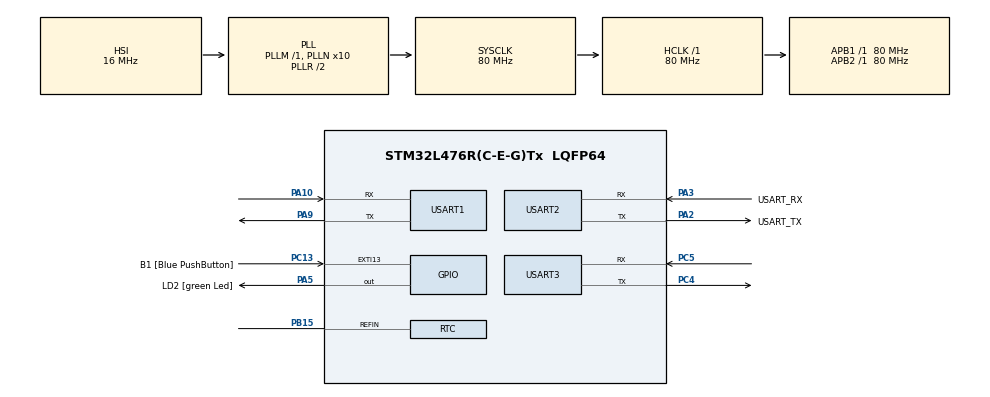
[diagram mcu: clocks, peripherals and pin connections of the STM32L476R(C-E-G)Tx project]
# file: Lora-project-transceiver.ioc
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Dma.Request0=USART2_RX
Dma.Request1=USART2_TX
Dma.Request2=USART1_RX
Dma.Request3=USART1_TX
Dma.Request4=USART3_RX
Dma.Request5=USART3_TX
Dma.USART1_RX.2.Direction=DMA_PERIPH_TO_MEMORY
Dma.USART1_RX.2.Instance=DMA1_Channel5
Dma.USART1_RX.2.MemDataAlignment=DMA_MDATAALIGN_BYTE
Dma.USART1_RX.2.MemInc=DMA_MINC_ENABLE
Dma.USART1_RX.2.Mode=DMA_NORMAL
Dma.USART1_RX.2.PeriphDataAlignment=DMA_PDATAALIGN_BYTE
Dma.USART1_RX.2.PeriphInc=DMA_PINC_DISABLE
Dma.USART1_RX.2.Priority=DMA_PRIORITY_MEDIUM
Dma.USART1_TX.3.Direction=DMA_MEMORY_TO_PERIPH
Dma.USART1_TX.3.Instance=DMA1_Channel4
Dma.USART1_TX.3.MemDataAlignment=DMA_MDATAALIGN_BYTE
Dma.USART1_TX.3.MemInc=DMA_MINC_ENABLE
Dma.USART1_TX.3.Mode=DMA_NORMAL
Dma.USART1_TX.3.PeriphDataAlignment=DMA_PDATAALIGN_BYTE
Dma.USART1_TX.3.PeriphInc=DMA_PINC_DISABLE
Dma.USART1_TX.3.Priority=DMA_PRIORITY_MEDIUM
Dma.USART2_RX.0.Direction=DMA_PERIPH_TO_MEMORY
Dma.USART2_RX.0.Instance=DMA1_Channel6
Dma.USART2_RX.0.MemDataAlignment=DMA_MDATAALIGN_BYTE
Dma.USART2_RX.0.MemInc=DMA_MINC_ENABLE
Dma.USART2_RX.0.Mode=DMA_NORMAL
Dma.USART2_RX.0.PeriphDataAlignment=DMA_PDATAALIGN_BYTE
Dma.USART2_RX.0.PeriphInc=DMA_PINC_DISABLE
Dma.USART2_RX.0.Priority=DMA_PRIORITY_MEDIUM
Dma.USART2_TX.1.Direction=DMA_MEMORY_TO_PERIPH
Dma.USART2_TX.1.Instance=DMA1_Channel7
Dma.USART2_TX.1.MemDataAlignment=DMA_MDATAALIGN_BYTE
Dma.USART2_TX.1.MemInc=DMA_MINC_ENABLE
Dma.USART2_TX.1.Mode=DMA_NORMAL
Dma.USART2_TX.1.PeriphDataAlignment=DMA_PDATAALIGN_BYTE
Dma.USART2_TX.1.PeriphInc=DMA_PINC_DISABLE
Dma.USART2_TX.1.Priority=DMA_PRIORITY_MEDIUM
Dma.USART3_RX.4.Direction=DMA_PERIPH_TO_MEMORY
Dma.USART3_RX.4.Instance=DMA1_Channel3
Dma.USART3_RX.4.MemDataAlignment=DMA_MDATAALIGN_HALFWORD
Dma.USART3_RX.4.MemInc=DMA_MINC_ENABLE
Dma.USART3_RX.4.Mode=DMA_CIRCULAR
Dma.USART3_RX.4.PeriphDataAlignment=DMA_PDATAALIGN_BYTE
Dma.USART3_RX.4.PeriphInc=DMA_PINC_DISABLE
Dma.USART3_RX.4.Priority=DMA_PRIORITY_MEDIUM
Dma.USART3_TX.5.Direction=DMA_MEMORY_TO_PERIPH
Dma.USART3_TX.5.Instance=DMA1_Channel2
Dma.USART3_TX.5.MemDataAlignment=DMA_MDATAALIGN_BYTE
Dma.USART3_TX.5.MemInc=DMA_MINC_ENABLE
Dma.USART3_TX.5.Mode=DMA_NORMAL
Dma.USART3_TX.5.PeriphDataAlignment=DMA_PDATAALIGN_BYTE
Dma.USART3_TX.5.PeriphInc=DMA_PINC_DISABLE
Dma.USART3_TX.5.Priority=DMA_PRIORITY_MEDIUM
Mcu.Family=STM32L4
Mcu.Name=STM32L476R(C-E-G)Tx
Mcu.Package=LQFP64
NVIC.DMA1_Channel2_IRQn=true\:0\:0\:false\:false\:true\:false\:true
NVIC.DMA1_Channel3_IRQn=true\:0\:0\:false\:false\:true\:false\:true
NVIC.DMA1_Channel4_IRQn=true\:0\:0\:false\:false\:true\:false\:true
NVIC.DMA1_Channel5_IRQn=true\:0\:0\:false\:false\:true\:false\:true
NVIC.DMA1_Channel6_IRQn=true\:0\:0\:false\:false\:true\:false\:true
NVIC.DMA1_Channel7_IRQn=true\:0\:0\:false\:false\:true\:false\:true
NVIC.PriorityGroup=NVIC_PRIORITYGROUP_4
NVIC.USART1_IRQn=true\:0\:0\:false\:false\:true\:true\:true
NVIC.USART2_IRQn=true\:0\:0\:false\:false\:true\:true\:true
NVIC.USART3_IRQn=true\:0\:0\:false\:false\:true\:true\:true
PA10.GPIO_PuPd=GPIO_NOPULL
PA10.Mode=Asynchronous
PA10.Signal=USART1_RX
PA13\ (JTMS-SWDIO).GPIO_Label=TMS
PA13\ (JTMS-SWDIO).Mode=Serial_Wire
PA13\ (JTMS-SWDIO).Signal=SYS_JTMS-SWDIO
PA14\ (JTCK-SWCLK).GPIO_Label=TCK
PA14\ (JTCK-SWCLK).Mode=Serial_Wire
PA14\ (JTCK-SWCLK).Signal=SYS_JTCK-SWCLK
PA2.GPIO_Label=USART_TX
PA2.GPIO_Mode=GPIO_MODE_AF_PP
PA2.GPIO_PuPd=GPIO_NOPULL
PA2.GPIO_Speed=GPIO_SPEED_FREQ_VERY_HIGH
PA2.Mode=Asynchronous
PA2.Signal=USART2_TX
PA3.GPIO_Label=USART_RX
PA3.GPIO_Mode=GPIO_MODE_AF_PP
PA3.GPIO_PuPd=GPIO_NOPULL
PA3.GPIO_Speed=GPIO_SPEED_FREQ_VERY_HIGH
PA3.Mode=Asynchronous
PA3.Signal=USART2_RX
PA5.GPIO_Label=LD2 [green Led]
PA5.GPIO_ModeDefaultOutputPP=GPIO_MODE_OUTPUT_PP
PA5.GPIO_PuPd=GPIO_NOPULL
PA5.GPIO_Speed=GPIO_SPEED_FREQ_LOW
PA5.Signal=GPIO_Output
PA9.GPIO_PuPd=GPIO_NOPULL
PA9.Mode=Asynchronous
PA9.Signal=USART1_TX
PB15.Mode=Reference_Clock_Detection_Activate
PB15.Signal=RTC_REFIN
PB3\ (JTDO-TRACESWO).GPIO_Label=SWO
PB3\ (JTDO-TRACESWO).Signal=SYS_JTDO-SWO
PC13.GPIO_Label=B1 [Blue PushButton]
PC13.GPIO_ModeDefaultEXTI=GPIO_MODE_IT_FALLING
PC13.GPIO_PuPd=GPIO_NOPULL
PC13.Signal=GPXTI13
PC14-OSC32_IN\ (PC14).Mode=LSE-External-Oscillator
PC14-OSC32_IN\ (PC14).Signal=RCC_OSC32_IN
PC15-OSC32_OUT\ (PC15).Mode=LSE-External-Oscillator
PC15-OSC32_OUT\ (PC15).Signal=RCC_OSC32_OUT
PC4.Mode=Asynchronous
PC4.Signal=USART3_TX
PC5.Mode=Asynchronous
PC5.Signal=USART3_RX
PH0-OSC_IN\ (PH0).Signal=RCC_OSC_IN
PH1-OSC_OUT\ (PH1).Signal=RCC_OSC_OUT
ProjectManager.HeapSize=0x200
ProjectManager.StackSize=0x400
ProjectManager.TargetToolchain=MDK-ARM V5
RCC.ADCFreq_Value=64000000
RCC.AHBFreq_Value=80000000
RCC.APB1Freq_Value=80000000
RCC.APB1TimFreq_Value=80000000
RCC.APB2Freq_Value=80000000
RCC.APB2TimFreq_Value=80000000
RCC.CortexFreq_Value=80000000
RCC.HCLKFreq_Value=80000000
RCC.HSE_VALUE=8000000
RCC.HSI_VALUE=16000000
RCC.MSI_VALUE=4000000
RCC.PLLN=10
RCC.PLLSourceVirtual=RCC_PLLSOURCE_HSI
RCC.PREFETCH_ENABLE=1
RCC.RTCClockSelection=RCC_RTCCLKSOURCE_LSE
RCC.SYSCLKFreq_VALUE=80000000
RCC.SYSCLKSource=RCC_SYSCLKSOURCE_PLLCLK
RCC.USBFreq_Value=64000000
RCC.VCOOutputFreq_Value=160000000
RTC.Date=22
RTC.Format=RTC_FORMAT_BIN
RTC.Hours=16
RTC.Minutes=15
RTC.Month=RTC_MONTH_APRIL
RTC.WeekDay=RTC_WEEKDAY_MONDAY
RTC.Year=19
USART1.VirtualMode-Asynchronous=VM_ASYNC
USART2.VirtualMode-Asynchronous=VM_ASYNC
USART3.VirtualMode-Asynchronous=VM_ASYNC
VP_RTC_VS_RTC_Activate.Mode=RTC_Enabled
VP_RTC_VS_RTC_Calendar.Mode=RTC_Calendar
board=NUCLEO-L476RG

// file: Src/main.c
/* USER CODE BEGIN Header */
/**
  ******************************************************************************
  * @file           : main.c
  * @brief          : Main program body
  ******************************************************************************
  * @attention
  *
  * <h2><center>&copy; Copyright (c) 2019 STMicroelectronics.
  * All rights reserved.</center></h2>
  *
  * This software component is licensed by ST under BSD 3-Clause license,
  * the "License"; You may not use this file except in compliance with the
  * License. You may obtain a copy of the License at:
  *                        opensource.org/licenses/BSD-3-Clause
  *
  ******************************************************************************
  */
/* USER CODE END Header */

#include "main.h"
#include "dma.h"
#include "rtc.h"
#include "usart.h"
#include "gpio.h"

/* USER CODE BEGIN Includes */
//#define gcc -D_BSD_SOURCE -c -o something.o something.c
#include <string.h>
#include <stdio.h>
#include <lora.h>

#include <uart_lora.h>
#include <stdlib.h>
#include <stdbool.h>
#include <Tx_Rx.h>
//#include <types.h>
//#include <Delay/delay.h>
/* USER CODE END Includes */

/* USER CODE BEGIN PTD */
// —???????? ??Ђ ???????Ђ ??????
typedef struct
{
  uint8_t SendFlag      :1;     //
}
tTimerFlags;

static tTimerFlags Tmr_Flag;

/* USER CODE END PTD */

/* USER CODE BEGIN PD */
#define RxMode           1      // 0 - receiver, 1 - transmiter, 2 - без выбора
extern DMA_HandleTypeDef hdma_usart3_rx;
extern DMA_HandleTypeDef hdma_usart3_tx;
extern DMA_HandleTypeDef hdma_usart1_tx;
extern DMA_HandleTypeDef hdma_usart1_rx;
//#if (RxMode)
//#define MyAddress       2       // ????? ????????? 2
//#else
#define MyAddress       1       // ????? ???????????
//#endif

/* USER CODE END PD */

/* USER CODE BEGIN PM */

volatile uint16_t uartBuffer[UART_BUFFER_SIZE];

/* USER CODE END PM */

/* USER CODE BEGIN PV */

//включение и выключение светодиода
#define LedOff()        HAL_GPIO_WritePin(GPIOA, GPIO_PIN_5, GPIO_PIN_RESET)
#define LedOn()         HAL_GPIO_WritePin(GPIOA, GPIO_PIN_5, GPIO_PIN_SET)

//"AT+SEND?\r\n";//команда АТ для проверки передачи
/* USER CODE END PV */

void SystemClock_Config(void);

/* USER CODE BEGIN 0 */

	uint8_t trans_data[100];

/* USER CODE END 0 */

int main(void)
{
  /* USER CODE BEGIN 1 */
	//перед началом очишаем полностю буфер
   memset((void*)trans_data, 0, sizeof(trans_data));
  /* USER CODE END 1 */

  /* MCU Configuration--------------------------------------------------------*/

  /* Reset of all peripherals, Initializes the Flash interface and the Systick. */
  HAL_Init();

  /* USER CODE BEGIN Init */
  //int8_t err = 0;
  /* USER CODE END Init */

  /* Configure the system clock */
  SystemClock_Config();

  /* Initialize all configured peripherals */
  MX_GPIO_Init();
  MX_DMA_Init();
  MX_USART2_UART_Init();
  MX_USART1_UART_Init();
  MX_USART3_UART_Init();
  MX_RTC_Init();
  /* USER CODE BEGIN 2 */

  //unsigned char ch;
  /* USER CODE END 2 */

  /* Infinite loop */
  /* USER CODE BEGIN WHILE */
   Lora_init();

  HAL_UART_Transmit_IT(&huart3, (unsigned char *)"====================================================================\n\r", strlen((char*)"====================================================================\n\r"));
  HAL_Delay(10);
	HAL_UART_Transmit_IT(&huart3, (unsigned char *)"Ожидает режим приемно-передатчика...\n\r", strlen((char*)"Ожидает режим приемно-передатчика...\n\r"));
	HAL_Delay(10);
	HAL_UART_Transmit_IT(&huart3, (unsigned char *)"====================================================================\n\r", strlen((char*)"====================================================================\n\r"));

  HAL_Delay(1000);
	LedOn();
	HAL_Delay(500);
	LedOff();
	HAL_Delay(1000);
 // HAL_UART_Receive_DMA(&huart3, (unsigned char*)trans_data, strlen((char*)trans_data));
	//buffer_init( trans_data,strlen((char*)trans_data));
	    for (uint16_t i = 0; i <UART_BUFFER_SIZE;i++)
   {
		 uartBuffer[i]=0xffff;

   }	HAL_UART_Receive_DMA(&huart3, (unsigned char*)uartBuffer, UART_BUFFER_SIZE);
		  HAL_Delay(5);

  while (1)
  {
    /* USER CODE END WHILE */

    /* USER CODE BEGIN 3 */
		//HAL_UART_Receive_DMA(&huart3, trans_data, strlen((char*)trans_data));
    Rx_lora();
		Tx_lora();

		//Код для приемника

  }
  /* USER CODE END 3 */
}

void SystemClock_Config(void)
{
  RCC_OscInitTypeDef RCC_OscInitStruct = {0};
  RCC_ClkInitTypeDef RCC_ClkInitStruct = {0};
  RCC_PeriphCLKInitTypeDef PeriphClkInit = {0};

  /** Configure LSE Drive Capability
  */
  HAL_PWR_EnableBkUpAccess();
  __HAL_RCC_LSEDRIVE_CONFIG(RCC_LSEDRIVE_LOW);
  /** Initializes the CPU, AHB and APB busses clocks
  */
  RCC_OscInitStruct.OscillatorType = RCC_OSCILLATORTYPE_HSI|RCC_OSCILLATORTYPE_LSE;
  RCC_OscInitStruct.LSEState = RCC_LSE_ON;
  RCC_OscInitStruct.HSIState = RCC_HSI_ON;
  RCC_OscInitStruct.HSICalibrationValue = RCC_HSICALIBRATION_DEFAULT;
  RCC_OscInitStruct.PLL.PLLState = RCC_PLL_ON;
  RCC_OscInitStruct.PLL.PLLSource = RCC_PLLSOURCE_HSI;
  RCC_OscInitStruct.PLL.PLLM = 1;
  RCC_OscInitStruct.PLL.PLLN = 10;
  RCC_OscInitStruct.PLL.PLLP = RCC_PLLP_DIV7;
  RCC_OscInitStruct.PLL.PLLQ = RCC_PLLQ_DIV2;
  RCC_OscInitStruct.PLL.PLLR = RCC_PLLR_DIV2;
  if (HAL_RCC_OscConfig(&RCC_OscInitStruct) != HAL_OK)
  {
    Error_Handler();
  }
  /** Initializes the CPU, AHB and APB busses clocks
  */
  RCC_ClkInitStruct.ClockType = RCC_CLOCKTYPE_HCLK|RCC_CLOCKTYPE_SYSCLK
                              |RCC_CLOCKTYPE_PCLK1|RCC_CLOCKTYPE_PCLK2;
  RCC_ClkInitStruct.SYSCLKSource = RCC_SYSCLKSOURCE_PLLCLK;
  RCC_ClkInitStruct.AHBCLKDivider = RCC_SYSCLK_DIV1;
  RCC_ClkInitStruct.APB1CLKDivider = RCC_HCLK_DIV1;
  RCC_ClkInitStruct.APB2CLKDivider = RCC_HCLK_DIV1;

  if (HAL_RCC_ClockConfig(&RCC_ClkInitStruct, FLASH_LATENCY_4) != HAL_OK)
  {
    Error_Handler();
  }
  PeriphClkInit.PeriphClockSelection = RCC_PERIPHCLK_RTC|RCC_PERIPHCLK_USART1
                              |RCC_PERIPHCLK_USART2|RCC_PERIPHCLK_USART3;
  PeriphClkInit.Usart1ClockSelection = RCC_USART1CLKSOURCE_PCLK2;
  PeriphClkInit.Usart2ClockSelection = RCC_USART2CLKSOURCE_PCLK1;
  PeriphClkInit.Usart3ClockSelection = RCC_USART3CLKSOURCE_PCLK1;
  PeriphClkInit.RTCClockSelection = RCC_RTCCLKSOURCE_LSE;
  if (HAL_RCCEx_PeriphCLKConfig(&PeriphClkInit) != HAL_OK)
  {
    Error_Handler();
  }
  /** Configure the main internal regulator output voltage
  */
  if (HAL_PWREx_ControlVoltageScaling(PWR_REGULATOR_VOLTAGE_SCALE1) != HAL_OK)
  {
    Error_Handler();
  }
}

void Error_Handler(void)
{
}

/************************ (C) COPYRIGHT STMicroelectronics *****END OF FILE****/
